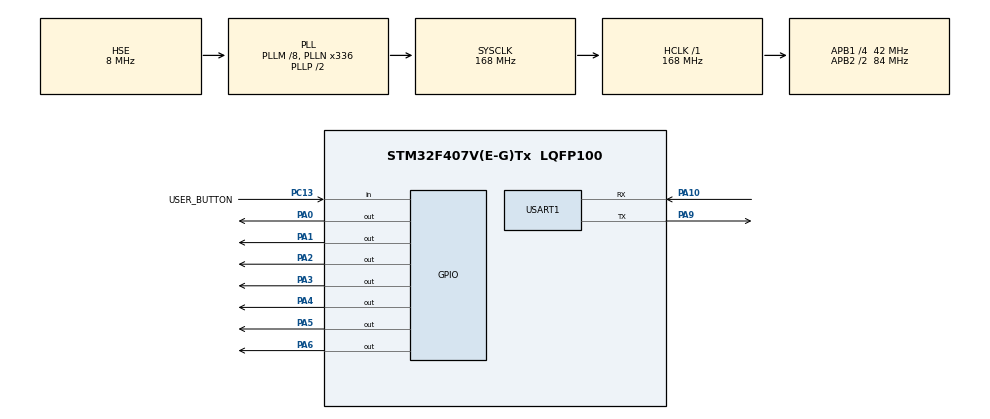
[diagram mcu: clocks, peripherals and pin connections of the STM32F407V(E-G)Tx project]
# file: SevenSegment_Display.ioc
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Mcu.Family=STM32F4
Mcu.Name=STM32F407V(E-G)Tx
Mcu.Package=LQFP100
NVIC.PriorityGroup=NVIC_PRIORITYGROUP_0
PA0-WKUP.Signal=GPIO_Output
PA1.Signal=GPIO_Output
PA10.Mode=Asynchronous
PA10.Signal=USART1_RX
PA13.Mode=Serial_Wire
PA13.Signal=SYS_JTMS-SWDIO
PA14.Mode=Serial_Wire
PA14.Signal=SYS_JTCK-SWCLK
PA2.Signal=GPIO_Output
PA3.Signal=GPIO_Output
PA4.Signal=GPIO_Output
PA5.Signal=GPIO_Output
PA6.Signal=GPIO_Output
PA9.Mode=Asynchronous
PA9.Signal=USART1_TX
PC13-ANTI_TAMP.GPIO_Label=USER_BUTTON
PC13-ANTI_TAMP.Signal=GPIO_Input
PC14-OSC32_IN.Mode=LSE-External-Oscillator
PC14-OSC32_IN.Signal=RCC_OSC32_IN
PC15-OSC32_OUT.Mode=LSE-External-Oscillator
PC15-OSC32_OUT.Signal=RCC_OSC32_OUT
PH0-OSC_IN.Mode=HSE-External-Oscillator
PH0-OSC_IN.Signal=RCC_OSC_IN
PH1-OSC_OUT.Mode=HSE-External-Oscillator
PH1-OSC_OUT.Signal=RCC_OSC_OUT
ProjectManager.HeapSize=0x200
ProjectManager.StackSize=0x400
ProjectManager.TargetToolchain=STM32CubeIDE
RCC.48MHZClocksFreq_Value=48000000
RCC.AHBFreq_Value=168000000
RCC.APB1CLKDivider=RCC_HCLK_DIV4
RCC.APB1Freq_Value=42000000
RCC.APB1TimFreq_Value=84000000
RCC.APB2CLKDivider=RCC_HCLK_DIV2
RCC.APB2Freq_Value=84000000
RCC.APB2TimFreq_Value=168000000
RCC.CortexFreq_Value=168000000
RCC.HCLKFreq_Value=168000000
RCC.HSE_VALUE=8000000
RCC.HSI_VALUE=16000000
RCC.PLLM=8
RCC.PLLN=336
RCC.PLLQ=7
RCC.PLLSourceVirtual=RCC_PLLSOURCE_HSE
RCC.SYSCLKFreq_VALUE=168000000
RCC.SYSCLKSource=RCC_SYSCLKSOURCE_PLLCLK
RCC.VCOOutputFreq_Value=336000000
USART1.VirtualMode=VM_ASYNC
board=STM32F407G-DISC1

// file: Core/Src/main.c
/* USER CODE BEGIN Header */
/**
  ******************************************************************************
  * @file           : main.c
  * @brief          : Main program body
  ******************************************************************************
  * @attention
  *
  * Copyright (c) 2022 STMicroelectronics.
  * All rights reserved.
  *
  * This software is licensed under terms that can be found in the LICENSE file
  * in the root directory of this software component.
  * If no LICENSE file comes with this software, it is provided AS-IS.
  *
  ******************************************************************************
  */
/* USER CODE END Header */
#include "main.h"

UART_HandleTypeDef huart1;

/* USER CODE BEGIN PV */
uint8_t buttonState =0;
uint8_t number =0;
/* USER CODE END PV */

void SystemClock_Config(void);
static void MX_GPIO_Init(void);
static void MX_USART1_UART_Init(void);

/* USER CODE BEGIN 0 */
/*
 IF
     the USER BUTTON is pressed then number on 7_segment will increment by 1
 else
     Number on the 7_segment will decrement by 1
*/
// Segment numbers stored in the array
uint8_t segmentNumber[10] = {
		0x3F,   //0
		0x06,   //1
		0X5b,   //2
		0x4f,   //3
		0x66,   //4
		0x6d,   //5
		0x7d,   //6
		0x07,   //7
		0x7f,   //8
		0x67    //9
};

// implement button functionality
void HAL_GPIO_EXTI_Falling_Callback(uint16_t GPIO_Pin)
{
	/* Prevent unused argument (s) compilation warning */
	UNUSED(GPIO_Pin);
	/* Note: This function should not be modified, when the callback is needed,
	         the HAL_GPIO_EXTI_Falling_Callback could be implemented in the user file
	 */
	if(GPIO_Pin == USER_BUTTON_Pin){
		buttonState = 1;
	}
}

void SevenSegment_Update(uint8_t number){
	HAL_GPIO_WritePin(GPIOA, GPIO_PIN_0,((number>>0)&0x01));
	HAL_GPIO_WritePin(GPIOA, GPIO_PIN_1,((number>>1)&0x01));
	HAL_GPIO_WritePin(GPIOA, GPIO_PIN_2,((number>>2)&0x01));
	HAL_GPIO_WritePin(GPIOA, GPIO_PIN_3,((number>>3)&0x01));
	HAL_GPIO_WritePin(GPIOA, GPIO_PIN_4,((number>>4)&0x01));
	HAL_GPIO_WritePin(GPIOA, GPIO_PIN_5,((number>>5)&0x01));
	HAL_GPIO_WritePin(GPIOA, GPIO_PIN_6,((number>>6)&0x01));

}
/* USER CODE END 0 */

int main(void)
{

  /* MCU Configuration--------------------------------------------------------*/

  /* Reset of all peripherals, Initializes the Flash interface and the Systick. */
  HAL_Init();

  /* Configure the system clock */
  SystemClock_Config();

  /* Initialize all configured peripherals */
  MX_GPIO_Init();
  MX_USART1_UART_Init();

  /* Infinite loop */
  while (1)
  {

    /* USER CODE BEGIN 3 */
	  if( buttonState == 1){
		  if(number==9){
             number=0;
		  }else{
             number++;
		  }
        buttonState=0;
	  }else if(number==0){
		  number=9;

	  }else{
		  number--;

	  }
	  SevenSegment_Update(segmentNumber[number]);
	  HAL_Delay(1000);

  }
  /* USER CODE END 3 */
}

void SystemClock_Config(void)
{
  RCC_OscInitTypeDef RCC_OscInitStruct = {0};
  RCC_ClkInitTypeDef RCC_ClkInitStruct = {0};

  /** Configure the main internal regulator output voltage
  */
  __HAL_RCC_PWR_CLK_ENABLE();
  __HAL_PWR_VOLTAGESCALING_CONFIG(PWR_REGULATOR_VOLTAGE_SCALE1);

  /** Initializes the RCC Oscillators according to the specified parameters
  * in the RCC_OscInitTypeDef structure.
  */
  RCC_OscInitStruct.OscillatorType = RCC_OSCILLATORTYPE_HSE;
  RCC_OscInitStruct.HSEState = RCC_HSE_ON;
  RCC_OscInitStruct.PLL.PLLState = RCC_PLL_ON;
  RCC_OscInitStruct.PLL.PLLSource = RCC_PLLSOURCE_HSE;
  RCC_OscInitStruct.PLL.PLLM = 8;
  RCC_OscInitStruct.PLL.PLLN = 336;
  RCC_OscInitStruct.PLL.PLLP = RCC_PLLP_DIV2;
  RCC_OscInitStruct.PLL.PLLQ = 7;
  if (HAL_RCC_OscConfig(&RCC_OscInitStruct) != HAL_OK)
  {
    Error_Handler();
  }

  /** Initializes the CPU, AHB and APB buses clocks
  */
  RCC_ClkInitStruct.ClockType = RCC_CLOCKTYPE_HCLK|RCC_CLOCKTYPE_SYSCLK
                              |RCC_CLOCKTYPE_PCLK1|RCC_CLOCKTYPE_PCLK2;
  RCC_ClkInitStruct.SYSCLKSource = RCC_SYSCLKSOURCE_PLLCLK;
  RCC_ClkInitStruct.AHBCLKDivider = RCC_SYSCLK_DIV1;
  RCC_ClkInitStruct.APB1CLKDivider = RCC_HCLK_DIV4;
  RCC_ClkInitStruct.APB2CLKDivider = RCC_HCLK_DIV2;

  if (HAL_RCC_ClockConfig(&RCC_ClkInitStruct, FLASH_LATENCY_5) != HAL_OK)
  {
    Error_Handler();
  }
}

static void MX_USART1_UART_Init(void)
{

  huart1.Instance = USART1;
  huart1.Init.BaudRate = 115200;
  huart1.Init.WordLength = UART_WORDLENGTH_8B;
  huart1.Init.StopBits = UART_STOPBITS_1;
  huart1.Init.Parity = UART_PARITY_NONE;
  huart1.Init.Mode = UART_MODE_TX_RX;
  huart1.Init.HwFlowCtl = UART_HWCONTROL_NONE;
  huart1.Init.OverSampling = UART_OVERSAMPLING_16;
  if (HAL_UART_Init(&huart1) != HAL_OK)
  {
    Error_Handler();
  }

}

static void MX_GPIO_Init(void)
{
  GPIO_InitTypeDef GPIO_InitStruct = {0};

  /* GPIO Ports Clock Enable */
  __HAL_RCC_GPIOC_CLK_ENABLE();
  __HAL_RCC_GPIOH_CLK_ENABLE();
  __HAL_RCC_GPIOA_CLK_ENABLE();

  /*Configure GPIO pin Output Level */
  HAL_GPIO_WritePin(GPIOA, GPIO_PIN_0|GPIO_PIN_1|GPIO_PIN_2|GPIO_PIN_3
                          |GPIO_PIN_4|GPIO_PIN_5|GPIO_PIN_6, GPIO_PIN_RESET);

  /*Configure GPIO pin : USER_BUTTON_Pin */
  GPIO_InitStruct.Pin = USER_BUTTON_Pin;
  GPIO_InitStruct.Mode = GPIO_MODE_INPUT;
  GPIO_InitStruct.Pull = GPIO_NOPULL;
  HAL_GPIO_Init(USER_BUTTON_GPIO_Port, &GPIO_InitStruct);

  /*Configure GPIO pins : PA0 PA1 PA2 PA3
                           PA4 PA5 PA6 */
  GPIO_InitStruct.Pin = GPIO_PIN_0|GPIO_PIN_1|GPIO_PIN_2|GPIO_PIN_3
                          |GPIO_PIN_4|GPIO_PIN_5|GPIO_PIN_6;
  GPIO_InitStruct.Mode = GPIO_MODE_OUTPUT_PP;
  GPIO_InitStruct.Pull = GPIO_NOPULL;
  GPIO_InitStruct.Speed = GPIO_SPEED_FREQ_LOW;
  HAL_GPIO_Init(GPIOA, &GPIO_InitStruct);

}

void Error_Handler(void)
{
  __disable_irq();
  while (1)
  {
  }
}
